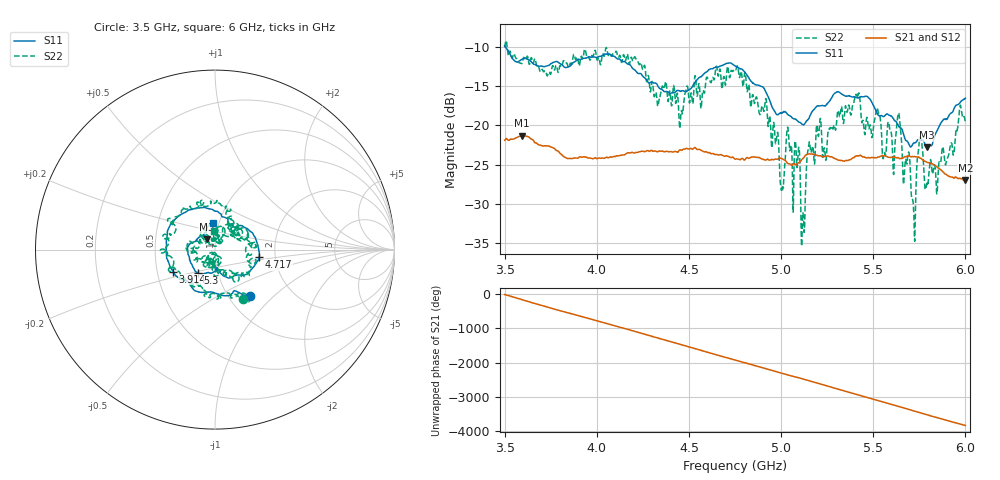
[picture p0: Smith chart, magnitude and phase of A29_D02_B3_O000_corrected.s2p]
! Created with skrf 1.9.0 (http://scikit-rf.org).
# Hz S RI R 50.0
!freq ReS11 ImS11 ReS21 ImS21 ReS12 ImS12 ReS22 ImS22
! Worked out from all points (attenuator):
!   1601 points, 3.5 GHz to 6 GHz, reference 50 ohm
!   highest |S21| = -21.31 dB at 3.592 GHz (marker M1); lowest = -27.0 dB at 6 GHz (marker M2)
!   lowest |S11| = -22.8 dB at 5.791 GHz (marker M3), VSWR 1.16, Z = 45.4 + j5.21 ohm
!   |S11| at or under -10 dB: 3.504 GHz to end of sweep
!   |S22| runs from -35.4 to -9.2 dB; largest |S21 - S12| = 0.00093
!   S11 on the Smith chart (normalised r, x): 3.5 GHz: 1.25, -0.72; 3.914 GHz: 0.61, -0.16; 4.717 GHz: 1.65, -0.14; 5.3 GHz: 0.80, -0.22; 6 GHz: 0.94, +0.29
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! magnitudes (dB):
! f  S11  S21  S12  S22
! 3.5 GHz  -9.9  -21.9  -21.9  -10.1
! 3.592 GHz  -11.6  -21.3  -21.3  -12.1
! 3.914 GHz  -11.6  -24.0  -24.0  -11.3
! 3.917 GHz  -11.6  -24.1  -24.1  -11.2
! 4.334 GHz  -15.1  -23.3  -23.3  -17.3
! 4.717 GHz  -12.0  -24.0  -24.0  -13.5
! 4.75 GHz  -12.4  -24.3  -24.2  -13.0
! 4.912 GHz  -15.5  -24.4  -24.4  -17.2
! 5.005 GHz  -18.3  -24.2  -24.2  -28.0
! 5.036 GHz  -18.6  -24.9  -24.8  -20.2
! 5.088 GHz  -19.4  -24.9  -24.9  -25.3
! 5.119 GHz  -19.9  -24.2  -24.2  -31.1
! 5.167 GHz  -18.3  -23.7  -23.6  -23.1
! 5.3 GHz  -15.8  -24.3  -24.3  -19.9
! 5.414 GHz  -16.5  -23.9  -23.9  -16.2
! 5.559 GHz  -18.8  -23.9  -23.9  -23.6
! 5.584 GHz  -18.7  -24.1  -24.0  -19.6
! 5.641 GHz  -20.2  -24.2  -24.2  -18.7
! 5.717 GHz  -22.3  -24.0  -23.9  -30.0
! 5.753 GHz  -21.9  -24.2  -24.1  -21.6
! 5.791 GHz  -22.8  -24.7  -24.6  -27.4
! 6 GHz  -16.5  -27.0  -26.9  -19.7
